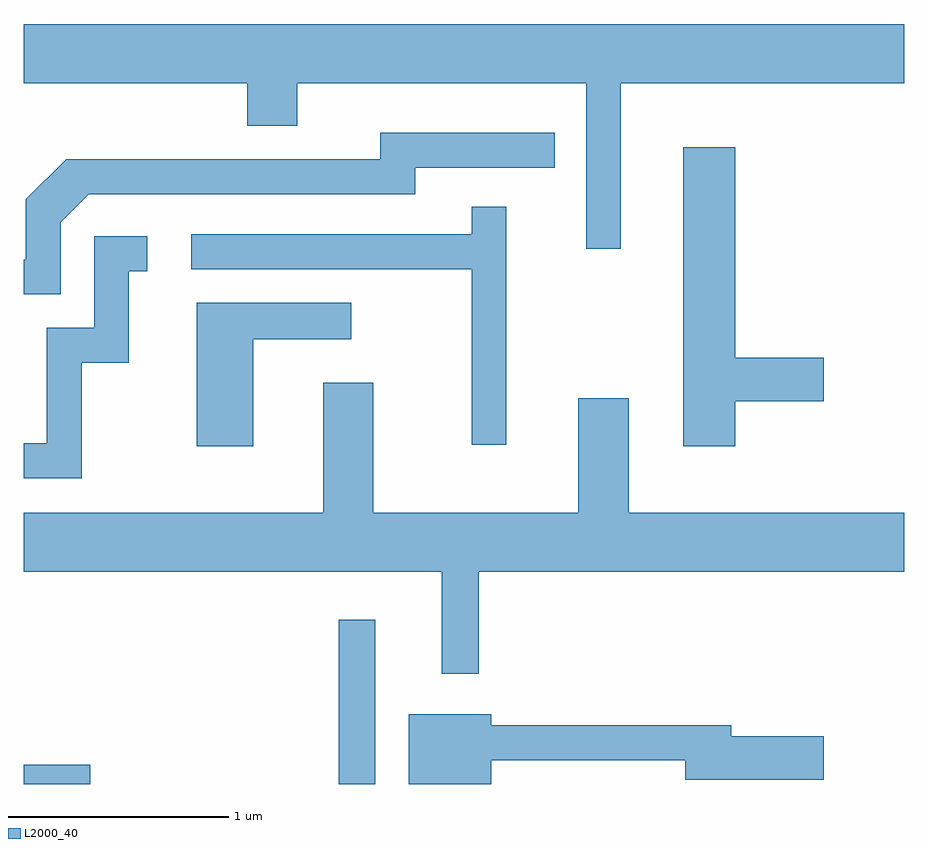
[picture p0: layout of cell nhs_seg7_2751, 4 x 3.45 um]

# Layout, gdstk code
import gdstk
lib = gdstk.Library(unit=1e-6, precision=1e-09)
def R(c, l, rs):  # rectangles x0, y0, x1, y1
    for r in rs: c.add(gdstk.rectangle(r[:2], r[2:], *l))
def P(c, l, *ps):  # polygons
    for p in ps: c.add(gdstk.Polygon(p, *l))
L2000_40 = (2000, 40)

nhs_seg7_2751 = lib.new_cell('nhs_seg7_2751')
R(nhs_seg7_2751, L2000_40, [(269.611,1702.252,269.914,1702.339), (271.041,1702.252,271.209,1702.998)])
P(nhs_seg7_2751, L2000_40, [(272.324,1705.436),(273.611,1705.436),(273.611,1705.704),(269.611,1705.704),(269.611,1705.436),(270.626,1705.436),(270.626,1705.241),(270.854,1705.241),(270.854,1705.436),(272.166,1705.436),(272.166,1704.683),(272.324,1704.683)],
  [(269.779,1704.804),(269.907,1704.931),(271.389,1704.931),(271.389,1705.051),(272.023,1705.051),(272.023,1705.209),(271.231,1705.209),(271.231,1705.089),(269.804,1705.089),(269.621,1704.907),(269.621,1704.634),(269.611,1704.634),(269.611,1704.476),(269.779,1704.476)],
  [(272.844,1703.991),(273.244,1703.991),(273.244,1704.189),(272.844,1704.189),(272.844,1705.144),(272.606,1705.144),(272.606,1703.786),(272.844,1703.786)],
  [(271.804,1704.873),(271.646,1704.873),(271.646,1704.749),(270.373,1704.749),(270.373,1704.591),(271.646,1704.591),(271.646,1703.793),(271.804,1703.793)],
  [(269.874,1704.166),(270.089,1704.166),(270.089,1704.581),(270.173,1704.581),(270.173,1704.739),(269.931,1704.739),(269.931,1704.324),(269.716,1704.324),(269.716,1703.799),(269.611,1703.799),(269.611,1703.641),(269.874,1703.641)],
  [(270.654,1704.271),(271.098,1704.271),(271.098,1704.439),(270.396,1704.439),(270.396,1703.786),(270.654,1703.786)],
  [(271.679,1703.216),(273.611,1703.216),(273.611,1703.484),(272.359,1703.484),(272.359,1704.004),(272.131,1704.004),(272.131,1703.484),(271.199,1703.484),(271.199,1704.074),(270.971,1704.074),(270.971,1703.484),(269.611,1703.484),(269.611,1703.216),(271.511,1703.216),(271.511,1702.753),(271.679,1702.753)],
  [(271.734,1702.361),(272.616,1702.361),(272.616,1702.271),(273.244,1702.271),(273.244,1702.469),(272.824,1702.469),(272.824,1702.519),(271.734,1702.519),(271.734,1702.569),(271.361,1702.569),(271.361,1702.252),(271.734,1702.252)])

lib.write_gds('nhs_seg7_2751.gds')
